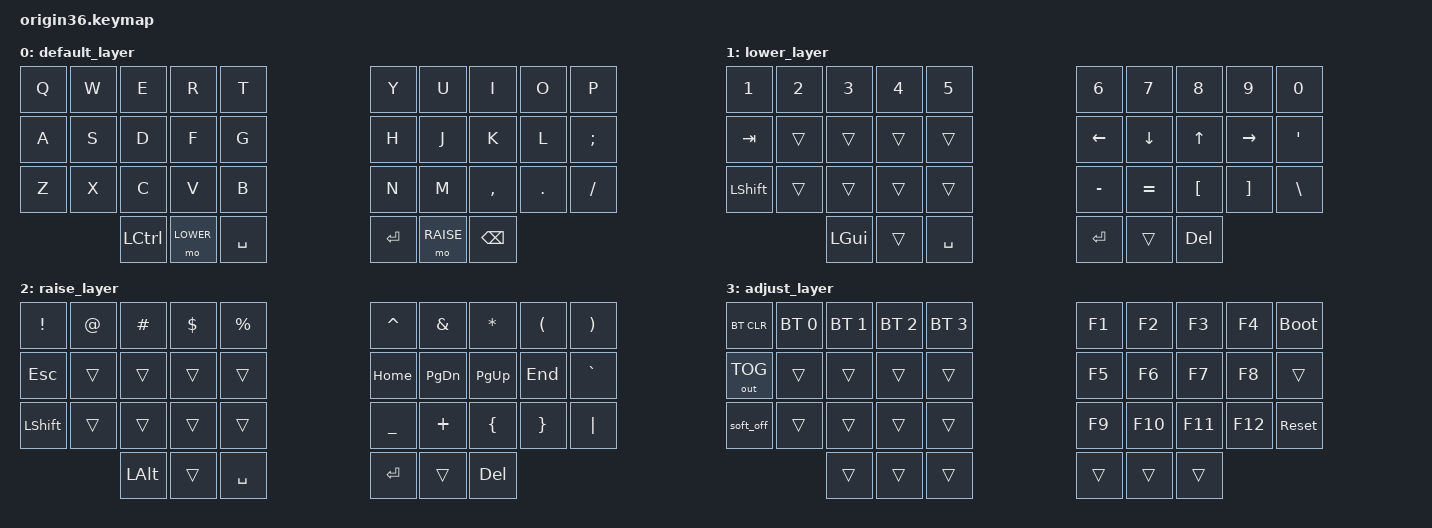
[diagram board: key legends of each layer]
/*
 * Copyright (c) 2024 The ZMK Contributors
 * SPDX-License-Identifier: MIT
 */

#include <behaviors.dtsi>
#include <dt-bindings/zmk/keys.h>
#include <dt-bindings/zmk/bt.h>
#include <dt-bindings/zmk/outputs.h>

#define DEFAULT 0
#define LOWER   1
#define RAISE   2
#define ADJUST  3

/ {
    conditional_layers {
        compatible = "zmk,conditional-layers";
        tri_layer {
            if-layers = <LOWER RAISE>;
            then-layer = <ADJUST>;
        };
    };

    keymap {
        compatible = "zmk,keymap";

        default_layer {
            bindings = <
                &kp Q &kp W &kp E &kp R &kp T   &kp Y &kp U  &kp I     &kp O   &kp P
                &kp A &kp S &kp D &kp F &kp G   &kp H &kp J  &kp K     &kp L   &kp SEMI
                &kp Z &kp X &kp C &kp V &kp B   &kp N &kp M  &kp COMMA &kp DOT &kp FSLH
                      &kp LCTRL &mo LOWER &kp SPACE   &kp RET &mo RAISE &kp BSPC
            >;
        };

        lower_layer {
            bindings = <
                &kp N1    &kp N2    &kp N3    &kp N4    &kp N5      &kp N6    &kp N7    &kp N8    &kp N9    &kp N0
                &kp TAB   &trans    &trans    &trans    &trans      &kp LEFT  &kp DOWN  &kp UP    &kp RIGHT &kp SQT
                &kp LSHFT &trans    &trans    &trans    &trans      &kp MINUS &kp EQUAL &kp LBKT  &kp RBKT  &kp BSLH
                                    &kp LGUI  &trans    &kp SPACE   &kp RET   &trans    &kp DEL
            >;
        };

        raise_layer {
            bindings = <
                &kp EXCL  &kp AT    &kp HASH  &kp DLLR  &kp PRCNT   &kp CARET &kp AMPS  &kp STAR  &kp LPAR  &kp RPAR
                &kp ESC   &trans    &trans    &trans    &trans      &kp HOME  &kp PG_DN &kp PG_UP &kp END   &kp GRAVE
                &kp LSHFT &trans    &trans    &trans    &trans      &kp UNDER &kp PLUS  &kp LBRC  &kp RBRC  &kp PIPE
                                    &kp LALT  &trans    &kp SPACE   &kp RET   &trans    &kp DEL
            >;
        };

        adjust_layer {
            bindings = <
                &bt BT_CLR   &bt BT_SEL 0 &bt BT_SEL 1 &bt BT_SEL 2 &bt BT_SEL 3   &kp F1  &kp F2  &kp F3  &kp F4  &bootloader
                &out OUT_TOG &trans       &trans       &trans       &trans         &kp F5  &kp F6  &kp F7  &kp F8  &trans
                &soft_off    &trans       &trans       &trans       &trans         &kp F9  &kp F10 &kp F11 &kp F12 &sys_reset
                                          &trans       &trans       &trans         &trans  &trans  &trans
            >;
        };
    };
};
